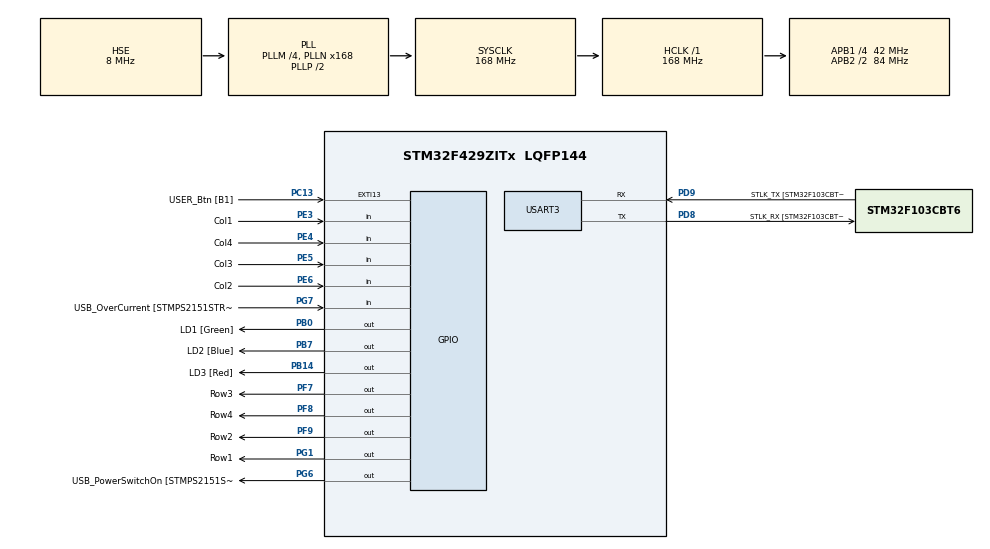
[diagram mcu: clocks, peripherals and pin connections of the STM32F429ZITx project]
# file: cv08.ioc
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Mcu.Family=STM32F4
Mcu.Name=STM32F429ZITx
Mcu.Package=LQFP144
NVIC.PriorityGroup=NVIC_PRIORITYGROUP_4
NVIC.TIM3_IRQn=true\:0\:0\:false\:false\:true\:true\:true
PA1.GPIO_Label=RMII_REF_CLK [LAN8742A-CZ-TR_REFCLK0]
PA1.Signal=ETH_REF_CLK
PA10.GPIO_Label=USB_ID
PA10.Signal=USB_OTG_FS_ID
PA11.GPIO_Label=USB_DM
PA11.Signal=USB_OTG_FS_DM
PA12.GPIO_Label=USB_DP
PA12.Signal=USB_OTG_FS_DP
PA13.GPIO_Label=TMS
PA13.Mode=Serial_Wire
PA13.Signal=SYS_JTMS-SWDIO
PA14.GPIO_Label=TCK
PA14.Mode=Serial_Wire
PA14.Signal=SYS_JTCK-SWCLK
PA2.GPIO_Label=RMII_MDIO [LAN8742A-CZ-TR_MDIO]
PA2.Signal=ETH_MDIO
PA7.GPIO_Label=RMII_CRS_DV [LAN8742A-CZ-TR_CRS_DV]
PA7.Signal=ETH_CRS_DV
PA8.GPIO_Label=USB_SOF [TP1]
PA8.Signal=USB_OTG_FS_SOF
PA9.GPIO_Label=USB_VBUS
PA9.Signal=USB_OTG_FS_VBUS
PB0.GPIO_Label=LD1 [Green]
PB0.Signal=GPIO_Output
PB13.GPIO_Label=RMII_TXD1 [LAN8742A-CZ-TR_TXD1]
PB13.Signal=ETH_TXD1
PB14.GPIO_Label=LD3 [Red]
PB14.Signal=GPIO_Output
PB7.GPIO_Label=LD2 [Blue]
PB7.Signal=GPIO_Output
PC1.GPIO_Label=RMII_MDC [LAN8742A-CZ-TR_MDC]
PC1.Signal=ETH_MDC
PC13.GPIO_Label=USER_Btn [B1]
PC13.Signal=GPXTI13
PC14/OSC32_IN.Mode=LSE-External-Oscillator
PC14/OSC32_IN.Signal=RCC_OSC32_IN
PC15/OSC32_OUT.Mode=LSE-External-Oscillator
PC15/OSC32_OUT.Signal=RCC_OSC32_OUT
PC4.GPIO_Label=RMII_RXD0 [LAN8742A-CZ-TR_RXD0]
PC4.Signal=ETH_RXD0
PC5.GPIO_Label=RMII_RXD1 [LAN8742A-CZ-TR_RXD1]
PC5.Signal=ETH_RXD1
PD8.GPIO_Label=STLK_RX [STM32F103CBT6_PA3]
PD8.Mode=Asynchronous
PD8.Signal=USART3_TX
PD9.GPIO_Label=STLK_TX [STM32F103CBT6_PA2]
PD9.Mode=Asynchronous
PD9.Signal=USART3_RX
PE3.GPIO_Label=Col1
PE3.GPIO_PuPd=GPIO_PULLUP
PE3.Signal=GPIO_Input
PE4.GPIO_Label=Col4
PE4.GPIO_PuPd=GPIO_PULLUP
PE4.Signal=GPIO_Input
PE5.GPIO_Label=Col3
PE5.GPIO_PuPd=GPIO_PULLUP
PE5.Signal=GPIO_Input
PE6.GPIO_Label=Col2
PE6.GPIO_PuPd=GPIO_PULLUP
PE6.Signal=GPIO_Input
PF7.GPIO_Label=Row3
PF7.GPIO_ModeDefaultOutputPP=GPIO_MODE_OUTPUT_OD
PF7.Signal=GPIO_Output
PF8.GPIO_Label=Row4
PF8.GPIO_ModeDefaultOutputPP=GPIO_MODE_OUTPUT_OD
PF8.Signal=GPIO_Output
PF9.GPIO_Label=Row2
PF9.GPIO_ModeDefaultOutputPP=GPIO_MODE_OUTPUT_OD
PF9.Signal=GPIO_Output
PG1.GPIO_Label=Row1
PG1.GPIO_ModeDefaultOutputPP=GPIO_MODE_OUTPUT_OD
PG1.Signal=GPIO_Output
PG11.GPIO_Label=RMII_TX_EN [LAN8742A-CZ-TR_TXEN]
PG11.Signal=ETH_TX_EN
PG13.GPIO_Label=RMII_TXD0 [LAN8742A-CZ-TR_TXD0]
PG13.Signal=ETH_TXD0
PG6.GPIO_Label=USB_PowerSwitchOn [STMPS2151STR_EN]
PG6.Signal=GPIO_Output
PG7.GPIO_Label=USB_OverCurrent [STMPS2151STR_FAULT]
PG7.Signal=GPIO_Input
PH0/OSC_IN.GPIO_Label=MCO [STM32F103CBT6_PA8]
PH0/OSC_IN.Mode=HSE-External-Clock-Source
PH0/OSC_IN.Signal=RCC_OSC_IN
PH1/OSC_OUT.Mode=HSE-External-Clock-Source
PH1/OSC_OUT.Signal=RCC_OSC_OUT
ProjectManager.HeapSize=0x200
ProjectManager.StackSize=0x400
ProjectManager.TargetToolchain=STM32CubeIDE
RCC.48MHZClocksFreq_Value=48000000
RCC.AHBFreq_Value=168000000
RCC.APB1CLKDivider=RCC_HCLK_DIV4
RCC.APB1Freq_Value=42000000
RCC.APB1TimFreq_Value=84000000
RCC.APB2CLKDivider=RCC_HCLK_DIV2
RCC.APB2Freq_Value=84000000
RCC.APB2TimCLKDivider=2
RCC.APB2TimFreq_Value=168000000
RCC.CortexFreq_Value=168000000
RCC.HCLKFreq_Value=168000000
RCC.HSE_VALUE=8000000
RCC.HSI_VALUE=16000000
RCC.PLLM=4
RCC.PLLMUL=RCC_PLL_MUL9
RCC.PLLN=168
RCC.PLLQ=7
RCC.PLLSourceVirtual=RCC_PLLSOURCE_HSE
RCC.PRESCALERUSB=RCC_USBCLKSOURCE_PLL_DIV1_5
RCC.SYSCLKFreq_VALUE=168000000
RCC.SYSCLKSource=RCC_SYSCLKSOURCE_PLLCLK
RCC.SYSCLKSourceVirtual=RCC_SYSCLKSOURCE_PLLCLK
RCC.USBFreq_Value=48000000
RCC.VCOOutputFreq_Value=336000000
TIM3.AutoReloadPreload=TIM_AUTORELOAD_PRELOAD_ENABLE
TIM3.Period=99
TIM3.Prescaler=8399
USART3.VirtualMode=VM_ASYNC
VP_TIM3_VS_ClockSourceINT.Mode=Internal
board=NUCLEO-F429ZI

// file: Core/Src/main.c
/* USER CODE BEGIN Header */
/**
  ******************************************************************************
  * @file           : main.c
  * @brief          : Main program body
  ******************************************************************************
  * @attention
  *
  * <h2><center>&copy; Copyright (c) 2020 STMicroelectronics.
  * All rights reserved.</center></h2>
  *
  * This software component is licensed by ST under BSD 3-Clause license,
  * the "License"; You may not use this file except in compliance with the
  * License. You may obtain a copy of the License at:
  *                        opensource.org/licenses/BSD-3-Clause
  *
  ******************************************************************************
  */
/* USER CODE END Header */
#include "main.h"

TIM_HandleTypeDef htim3;

UART_HandleTypeDef huart3;

/* USER CODE BEGIN PV */

static volatile int8_t key = -1;  // nic neni stisknuto zakladni stav
/* USER CODE END PV */

void SystemClock_Config(void);
static void MX_GPIO_Init(void);
static void MX_USART3_UART_Init(void);
static void MX_TIM3_Init(void);

/* USER CODE BEGIN 0 */

void HAL_TIM_PeriodElapsedCallback(TIM_HandleTypeDef *htim) {
	static int row = 0;
	static const int keyboard[4][4] = {
			{ 1, 2, 3, 21 },
			{ 4, 5, 6, 22 },
			{ 7, 8, 9, 23 },
			{ 11, 0, 12, 24 }, };
	if (key == -1) {
		if (HAL_GPIO_ReadPin(Col1_GPIO_Port, Col1_Pin) == GPIO_PIN_RESET)  //cteni jednotlivych sloupcu
			key = keyboard[row][0];
		if (HAL_GPIO_ReadPin(Col2_GPIO_Port, Col2_Pin) == GPIO_PIN_RESET)
			key = keyboard[row][1];
		if (HAL_GPIO_ReadPin(Col3_GPIO_Port, Col3_Pin) == GPIO_PIN_RESET)
			key = keyboard[row][3];
		if (HAL_GPIO_ReadPin(Col4_GPIO_Port, Col4_Pin) == GPIO_PIN_RESET)
			key = keyboard[row][4];
	}
	HAL_GPIO_WritePin(Row1_GPIO_Port, Row1_Pin, GPIO_PIN_SET);  // vynulovani vsech radku
	HAL_GPIO_WritePin(Row2_GPIO_Port, Row2_Pin, GPIO_PIN_SET);
	HAL_GPIO_WritePin(Row3_GPIO_Port, Row3_Pin, GPIO_PIN_SET);
	HAL_GPIO_WritePin(Row4_GPIO_Port, Row4_Pin, GPIO_PIN_SET);
	switch (row) {
	case 0:
		row = 1;
		HAL_GPIO_WritePin(Row2_GPIO_Port, Row2_Pin, GPIO_PIN_RESET);  // aktivace prislusneho radku
		break;
	case 1:
		row = 2;
		HAL_GPIO_WritePin(Row3_GPIO_Port, Row3_Pin, GPIO_PIN_RESET);
		break;
	case 2:
		row = 3;
		HAL_GPIO_WritePin(Row4_GPIO_Port, Row4_Pin, GPIO_PIN_RESET);
		break;
	case 3:
		row = 0;
		HAL_GPIO_WritePin(Row1_GPIO_Port, Row1_Pin, GPIO_PIN_RESET);
		break;
	}
}

/* USER CODE END 0 */

int main(void)
{

  /* MCU Configuration--------------------------------------------------------*/

  /* Reset of all peripherals, Initializes the Flash interface and the Systick. */
  HAL_Init();

  /* Configure the system clock */
  SystemClock_Config();

  /* Initialize all configured peripherals */
  MX_GPIO_Init();
  MX_USART3_UART_Init();
  MX_TIM3_Init();
  /* USER CODE BEGIN 2 */

  HAL_TIM_Base_Start_IT(&htim3);
  printf("test\n");  //zkouska

  const uint8_t code[] = {7, 9, 3, 2, 12}; //kod
  uint8_t pos = 0;
  uint32_t timedown = HAL_GetTick();

  /* USER CODE END 2 */

  /* Infinite loop */
  /* USER CODE BEGIN WHILE */
  while (1)
  {

	  if(key != -1) {  // jestlize je klavesa stisknuta
		  timedown = HAL_GetTick();
		  printf("stisknuto: %d\n", key);
		  key = -1;

		  if(key == code[pos]) {  // jestlize je zadana cislice spravna
			  pos++;
			  printf("stisknuto: %d\n", key);
			  key = -1;
		  }
		  else {
			  printf("wrong code\n");  // spatna klavesa
			  pos = 0;  //zpet na pozici 0
			  key = -1;
		  }
	  }

	  if(timedown > timedown+3000) {  //pretecení
		  pos = 0;
	  }

	  if(pos > 4) {
		  HAL_GPIO_TogglePin(LD2_GPIO_Port, LD2_Pin);  // kod zadan uspesne, rozviceni LED
		  pos = 0;
	  }

	  /*
		  HAL_GPIO_TogglePin(LD2_GPIO_Port, LD2_Pin);
		  HAL_Delay(250);
		  */

    /* USER CODE END WHILE */

}
}
  /* USER CODE END 3 */
}

void SystemClock_Config(void)
{
  RCC_OscInitTypeDef RCC_OscInitStruct = {0};
  RCC_ClkInitTypeDef RCC_ClkInitStruct = {0};

  /** Configure the main internal regulator output voltage
  */
  __HAL_RCC_PWR_CLK_ENABLE();
  __HAL_PWR_VOLTAGESCALING_CONFIG(PWR_REGULATOR_VOLTAGE_SCALE1);
  /** Initializes the RCC Oscillators according to the specified parameters
  * in the RCC_OscInitTypeDef structure.
  */
  RCC_OscInitStruct.OscillatorType = RCC_OSCILLATORTYPE_HSE;
  RCC_OscInitStruct.HSEState = RCC_HSE_BYPASS;
  RCC_OscInitStruct.PLL.PLLState = RCC_PLL_ON;
  RCC_OscInitStruct.PLL.PLLSource = RCC_PLLSOURCE_HSE;
  RCC_OscInitStruct.PLL.PLLM = 4;
  RCC_OscInitStruct.PLL.PLLN = 168;
  RCC_OscInitStruct.PLL.PLLP = RCC_PLLP_DIV2;
  RCC_OscInitStruct.PLL.PLLQ = 7;
  if (HAL_RCC_OscConfig(&RCC_OscInitStruct) != HAL_OK)
  {
    Error_Handler();
  }
  /** Initializes the CPU, AHB and APB buses clocks
  */
  RCC_ClkInitStruct.ClockType = RCC_CLOCKTYPE_HCLK|RCC_CLOCKTYPE_SYSCLK
                              |RCC_CLOCKTYPE_PCLK1|RCC_CLOCKTYPE_PCLK2;
  RCC_ClkInitStruct.SYSCLKSource = RCC_SYSCLKSOURCE_PLLCLK;
  RCC_ClkInitStruct.AHBCLKDivider = RCC_SYSCLK_DIV1;
  RCC_ClkInitStruct.APB1CLKDivider = RCC_HCLK_DIV4;
  RCC_ClkInitStruct.APB2CLKDivider = RCC_HCLK_DIV2;

  if (HAL_RCC_ClockConfig(&RCC_ClkInitStruct, FLASH_LATENCY_5) != HAL_OK)
  {
    Error_Handler();
  }
}

static void MX_TIM3_Init(void)
{

  TIM_ClockConfigTypeDef sClockSourceConfig = {0};
  TIM_MasterConfigTypeDef sMasterConfig = {0};

  htim3.Instance = TIM3;
  htim3.Init.Prescaler = 8399;
  htim3.Init.CounterMode = TIM_COUNTERMODE_UP;
  htim3.Init.Period = 99;
  htim3.Init.ClockDivision = TIM_CLOCKDIVISION_DIV1;
  htim3.Init.AutoReloadPreload = TIM_AUTORELOAD_PRELOAD_ENABLE;
  if (HAL_TIM_Base_Init(&htim3) != HAL_OK)
  {
    Error_Handler();
  }
  sClockSourceConfig.ClockSource = TIM_CLOCKSOURCE_INTERNAL;
  if (HAL_TIM_ConfigClockSource(&htim3, &sClockSourceConfig) != HAL_OK)
  {
    Error_Handler();
  }
  sMasterConfig.MasterOutputTrigger = TIM_TRGO_RESET;
  sMasterConfig.MasterSlaveMode = TIM_MASTERSLAVEMODE_DISABLE;
  if (HAL_TIMEx_MasterConfigSynchronization(&htim3, &sMasterConfig) != HAL_OK)
  {
    Error_Handler();
  }

}

static void MX_USART3_UART_Init(void)
{

  huart3.Instance = USART3;
  huart3.Init.BaudRate = 115200;
  huart3.Init.WordLength = UART_WORDLENGTH_8B;
  huart3.Init.StopBits = UART_STOPBITS_1;
  huart3.Init.Parity = UART_PARITY_NONE;
  huart3.Init.Mode = UART_MODE_TX_RX;
  huart3.Init.HwFlowCtl = UART_HWCONTROL_NONE;
  huart3.Init.OverSampling = UART_OVERSAMPLING_16;
  if (HAL_UART_Init(&huart3) != HAL_OK)
  {
    Error_Handler();
  }

}

static void MX_GPIO_Init(void)
{
  GPIO_InitTypeDef GPIO_InitStruct = {0};

  /* GPIO Ports Clock Enable */
  __HAL_RCC_GPIOE_CLK_ENABLE();
  __HAL_RCC_GPIOC_CLK_ENABLE();
  __HAL_RCC_GPIOF_CLK_ENABLE();
  __HAL_RCC_GPIOH_CLK_ENABLE();
  __HAL_RCC_GPIOA_CLK_ENABLE();
  __HAL_RCC_GPIOB_CLK_ENABLE();
  __HAL_RCC_GPIOG_CLK_ENABLE();
  __HAL_RCC_GPIOD_CLK_ENABLE();

  /*Configure GPIO pin Output Level */
  HAL_GPIO_WritePin(GPIOF, Row3_Pin|Row4_Pin|Row2_Pin, GPIO_PIN_RESET);

  /*Configure GPIO pin Output Level */
  HAL_GPIO_WritePin(GPIOB, LD1_Pin|LD3_Pin|LD2_Pin, GPIO_PIN_RESET);

  /*Configure GPIO pin Output Level */
  HAL_GPIO_WritePin(GPIOG, Row1_Pin|USB_PowerSwitchOn_Pin, GPIO_PIN_RESET);

  /*Configure GPIO pins : Col1_Pin Col4_Pin Col3_Pin Col2_Pin */
  GPIO_InitStruct.Pin = Col1_Pin|Col4_Pin|Col3_Pin|Col2_Pin;
  GPIO_InitStruct.Mode = GPIO_MODE_INPUT;
  GPIO_InitStruct.Pull = GPIO_PULLUP;
  HAL_GPIO_Init(GPIOE, &GPIO_InitStruct);

  /*Configure GPIO pin : USER_Btn_Pin */
  GPIO_InitStruct.Pin = USER_Btn_Pin;
  GPIO_InitStruct.Mode = GPIO_MODE_IT_RISING;
  GPIO_InitStruct.Pull = GPIO_NOPULL;
  HAL_GPIO_Init(USER_Btn_GPIO_Port, &GPIO_InitStruct);

  /*Configure GPIO pins : Row3_Pin Row4_Pin Row2_Pin */
  GPIO_InitStruct.Pin = Row3_Pin|Row4_Pin|Row2_Pin;
  GPIO_InitStruct.Mode = GPIO_MODE_OUTPUT_OD;
  GPIO_InitStruct.Pull = GPIO_NOPULL;
  GPIO_InitStruct.Speed = GPIO_SPEED_FREQ_LOW;
  HAL_GPIO_Init(GPIOF, &GPIO_InitStruct);

  /*Configure GPIO pins : RMII_MDC_Pin RMII_RXD0_Pin RMII_RXD1_Pin */
  GPIO_InitStruct.Pin = RMII_MDC_Pin|RMII_RXD0_Pin|RMII_RXD1_Pin;
  GPIO_InitStruct.Mode = GPIO_MODE_AF_PP;
  GPIO_InitStruct.Pull = GPIO_NOPULL;
  GPIO_InitStruct.Speed = GPIO_SPEED_FREQ_VERY_HIGH;
  GPIO_InitStruct.Alternate = GPIO_AF11_ETH;
  HAL_GPIO_Init(GPIOC, &GPIO_InitStruct);

  /*Configure GPIO pins : RMII_REF_CLK_Pin RMII_MDIO_Pin RMII_CRS_DV_Pin */
  GPIO_InitStruct.Pin = RMII_REF_CLK_Pin|RMII_MDIO_Pin|RMII_CRS_DV_Pin;
  GPIO_InitStruct.Mode = GPIO_MODE_AF_PP;
  GPIO_InitStruct.Pull = GPIO_NOPULL;
  GPIO_InitStruct.Speed = GPIO_SPEED_FREQ_VERY_HIGH;
  GPIO_InitStruct.Alternate = GPIO_AF11_ETH;
  HAL_GPIO_Init(GPIOA, &GPIO_InitStruct);

  /*Configure GPIO pins : LD1_Pin LD3_Pin LD2_Pin */
  GPIO_InitStruct.Pin = LD1_Pin|LD3_Pin|LD2_Pin;
  GPIO_InitStruct.Mode = GPIO_MODE_OUTPUT_PP;
  GPIO_InitStruct.Pull = GPIO_NOPULL;
  GPIO_InitStruct.Speed = GPIO_SPEED_FREQ_LOW;
  HAL_GPIO_Init(GPIOB, &GPIO_InitStruct);

  /*Configure GPIO pin : Row1_Pin */
  GPIO_InitStruct.Pin = Row1_Pin;
  GPIO_InitStruct.Mode = GPIO_MODE_OUTPUT_OD;
  GPIO_InitStruct.Pull = GPIO_NOPULL;
  GPIO_InitStruct.Speed = GPIO_SPEED_FREQ_LOW;
  HAL_GPIO_Init(Row1_GPIO_Port, &GPIO_InitStruct);

  /*Configure GPIO pin : RMII_TXD1_Pin */
  GPIO_InitStruct.Pin = RMII_TXD1_Pin;
  GPIO_InitStruct.Mode = GPIO_MODE_AF_PP;
  GPIO_InitStruct.Pull = GPIO_NOPULL;
  GPIO_InitStruct.Speed = GPIO_SPEED_FREQ_VERY_HIGH;
  GPIO_InitStruct.Alternate = GPIO_AF11_ETH;
  HAL_GPIO_Init(RMII_TXD1_GPIO_Port, &GPIO_InitStruct);

  /*Configure GPIO pin : USB_PowerSwitchOn_Pin */
  GPIO_InitStruct.Pin = USB_PowerSwitchOn_Pin;
  GPIO_InitStruct.Mode = GPIO_MODE_OUTPUT_PP;
  GPIO_InitStruct.Pull = GPIO_NOPULL;
  GPIO_InitStruct.Speed = GPIO_SPEED_FREQ_LOW;
  HAL_GPIO_Init(USB_PowerSwitchOn_GPIO_Port, &GPIO_InitStruct);

  /*Configure GPIO pin : USB_OverCurrent_Pin */
  GPIO_InitStruct.Pin = USB_OverCurrent_Pin;
  GPIO_InitStruct.Mode = GPIO_MODE_INPUT;
  GPIO_InitStruct.Pull = GPIO_NOPULL;
  HAL_GPIO_Init(USB_OverCurrent_GPIO_Port, &GPIO_InitStruct);

  /*Configure GPIO pins : USB_SOF_Pin USB_ID_Pin USB_DM_Pin USB_DP_Pin */
  GPIO_InitStruct.Pin = USB_SOF_Pin|USB_ID_Pin|USB_DM_Pin|USB_DP_Pin;
  GPIO_InitStruct.Mode = GPIO_MODE_AF_PP;
  GPIO_InitStruct.Pull = GPIO_NOPULL;
  GPIO_InitStruct.Speed = GPIO_SPEED_FREQ_VERY_HIGH;
  GPIO_InitStruct.Alternate = GPIO_AF10_OTG_FS;
  HAL_GPIO_Init(GPIOA, &GPIO_InitStruct);

  /*Configure GPIO pin : USB_VBUS_Pin */
  GPIO_InitStruct.Pin = USB_VBUS_Pin;
  GPIO_InitStruct.Mode = GPIO_MODE_INPUT;
  GPIO_InitStruct.Pull = GPIO_NOPULL;
  HAL_GPIO_Init(USB_VBUS_GPIO_Port, &GPIO_InitStruct);

  /*Configure GPIO pins : RMII_TX_EN_Pin RMII_TXD0_Pin */
  GPIO_InitStruct.Pin = RMII_TX_EN_Pin|RMII_TXD0_Pin;
  GPIO_InitStruct.Mode = GPIO_MODE_AF_PP;
  GPIO_InitStruct.Pull = GPIO_NOPULL;
  GPIO_InitStruct.Speed = GPIO_SPEED_FREQ_VERY_HIGH;
  GPIO_InitStruct.Alternate = GPIO_AF11_ETH;
  HAL_GPIO_Init(GPIOG, &GPIO_InitStruct);

}

void Error_Handler(void)
{
}

/************************ (C) COPYRIGHT STMicroelectronics *****END OF FILE****/
